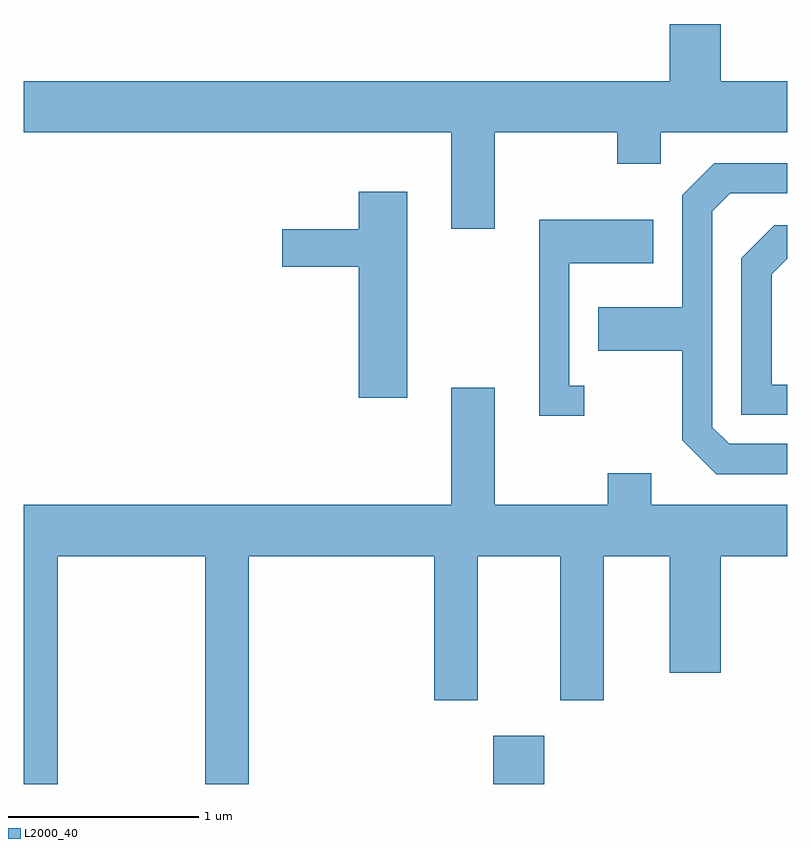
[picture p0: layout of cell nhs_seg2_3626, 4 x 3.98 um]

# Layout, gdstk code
import gdstk
lib = gdstk.Library(unit=1e-6, precision=1e-09)
def R(c, l, rs):  # rectangles x0, y0, x1, y1
    for r in rs: c.add(gdstk.rectangle(r[:2], r[2:], *l))
def P(c, l, *ps):  # polygons
    for p in ps: c.add(gdstk.Polygon(p, *l))
L2000_40 = (2000, 40)

nhs_seg2_3626 = lib.new_cell('nhs_seg2_3626')
R(nhs_seg2_3626, L2000_40, [(294.071,1033.802,294.339,1034.054)])
P(nhs_seg2_3626, L2000_40, [(294.079,1037.216),(294.721,1037.216),(294.721,1037.051),(294.949,1037.051),(294.949,1037.216),(295.611,1037.216),(295.611,1037.484),(295.264,1037.484),(295.264,1037.784),(294.996,1037.784),(294.996,1037.484),(291.611,1037.484),(291.611,1037.216),(293.851,1037.216),(293.851,1036.711),(294.079,1036.711)],
  [(295.611,1035.584),(295.307,1035.584),(295.219,1035.671),(295.219,1036.804),(295.312,1036.896),(295.611,1036.896),(295.611,1037.054),(295.229,1037.054),(295.061,1036.887),(295.061,1036.299),(294.621,1036.299),(294.621,1036.071),(295.061,1036.071),(295.061,1035.603),(295.239,1035.426),(295.611,1035.426)],
  [(293.619,1036.904),(293.366,1036.904),(293.366,1036.709),(292.966,1036.709),(292.966,1036.511),(293.366,1036.511),(293.366,1035.826),(293.619,1035.826)],
  [(294.548,1035.889),(294.469,1035.889),(294.469,1036.531),(294.909,1036.531),(294.909,1036.759),(294.311,1036.759),(294.311,1035.731),(294.548,1035.731)],
  [(295.611,1035.894),(295.529,1035.894),(295.529,1036.474),(295.611,1036.555),(295.611,1036.729),(295.544,1036.729),(295.371,1036.556),(295.371,1035.736),(295.611,1035.736)],
  [(291.789,1034.996),(292.561,1034.996),(292.561,1033.802),(292.789,1033.802),(292.789,1034.996),(293.761,1034.996),(293.761,1034.241),(293.989,1034.241),(293.989,1034.996),(294.421,1034.996),(294.421,1034.241),(294.649,1034.241),(294.649,1034.996),(294.996,1034.996),(294.996,1034.386),(295.264,1034.386),(295.264,1034.996),(295.611,1034.996),(295.611,1035.264),(294.899,1035.264),(294.899,1035.429),(294.671,1035.429),(294.671,1035.264),(294.079,1035.264),(294.079,1035.879),(293.851,1035.879),(293.851,1035.264),(291.611,1035.264),(291.611,1033.802),(291.789,1033.802)])

lib.write_gds('nhs_seg2_3626.gds')
